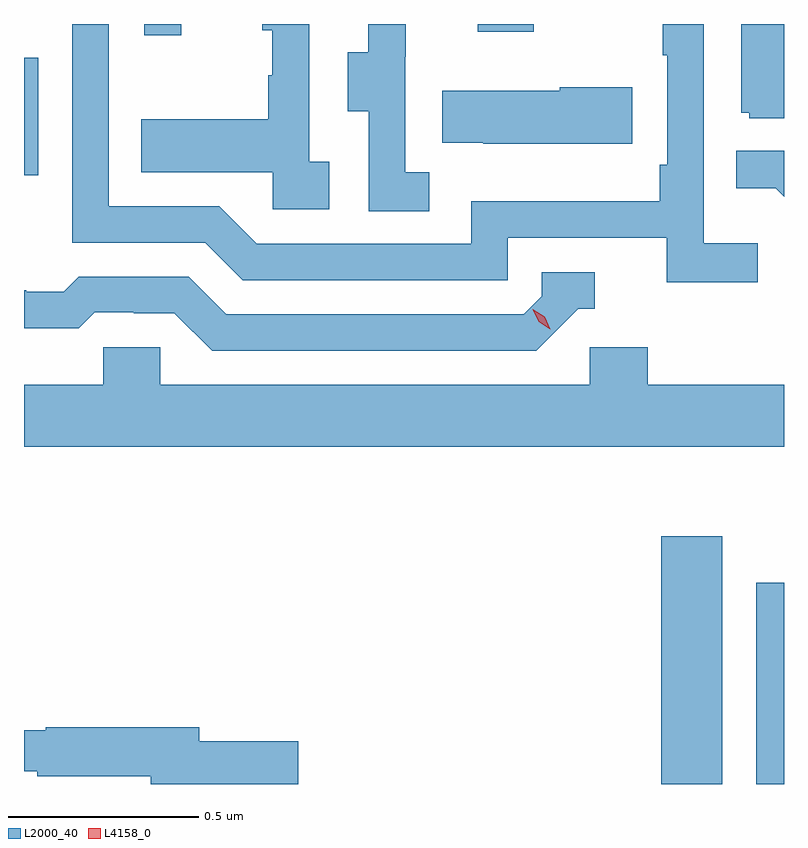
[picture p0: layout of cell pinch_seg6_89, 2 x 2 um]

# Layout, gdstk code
import gdstk
lib = gdstk.Library(unit=1e-6, precision=1e-09)
def R(c, l, rs):  # rectangles x0, y0, x1, y1
    for r in rs: c.add(gdstk.rectangle(r[:2], r[2:], *l))
def P(c, l, *ps):  # polygons
    for p in ps: c.add(gdstk.Polygon(p, *l))
L2000_40 = (2000, 40)
L4158_0 = (4158, 0)

pinch_seg6_89 = lib.new_cell('pinch_seg6_89')
R(pinch_seg6_89, L2000_40, [(946.13,931.797,946.291,932.449), (946.38,931.797,946.453,932.326), (944.453,933.399,944.49,933.708), (944.769,933.768,944.867,933.797), (945.647,933.777,945.795,933.797)])
P(pinch_seg6_89, L2000_40, [(945.52,933.407),(945.456,933.407),(945.456,933.711),(945.458,933.711),(945.458,933.797),(945.359,933.797),(945.359,933.723),(945.305,933.723),(945.305,933.568),(945.36,933.568),(945.36,933.304),(945.52,933.304)],
  [(945.256,933.434),(945.204,933.434),(945.204,933.797),(945.08,933.797),(945.08,933.78),(945.106,933.78),(945.106,933.662),(945.096,933.662),(945.096,933.547),(944.761,933.547),(944.761,933.407),(945.108,933.407),(945.108,933.309),(945.256,933.309)],
  [(946.384,933.22),(946.242,933.22),(946.242,933.797),(946.134,933.797),(946.134,933.715),(946.146,933.715),(946.146,933.427),(946.126,933.427),(946.126,933.331),(945.63,933.331),(945.63,933.219),(945.066,933.219),(944.967,933.318),(944.676,933.318),(944.676,933.797),(944.58,933.797),(944.58,933.222),(944.93,933.222),(945.029,933.123),(945.726,933.123),(945.726,933.234),(946.145,933.234),(946.145,933.118),(946.384,933.118)],
  [(946.453,933.797),(946.34,933.797),(946.34,933.564),(946.362,933.564),(946.362,933.549),(946.453,933.549)],
  [(946.054,933.63),(945.863,933.63),(945.863,933.622),(945.553,933.622),(945.553,933.485),(945.661,933.485),(945.661,933.482),(946.054,933.482)],
  [(946.453,933.464),(946.327,933.464),(946.327,933.365),(946.431,933.365),(946.453,933.343)],
  [(945.912,933.048),(945.955,933.048),(945.955,933.144),(945.816,933.144),(945.816,933.081),(945.768,933.033),(944.985,933.033),(944.886,933.132),(944.597,933.132),(944.558,933.093),(944.459,933.093),(944.459,933.096),(944.453,933.096),(944.453,932.997),(944.597,932.997),(944.639,933.039),(944.742,933.039),(944.742,933.036),(944.849,933.036),(944.948,932.937),(945.801,932.937)],
  [(946.453,932.848),(946.094,932.848),(946.094,932.946),(945.942,932.946),(945.942,932.848),(944.811,932.848),(944.811,932.946),(944.661,932.946),(944.661,932.848),(944.453,932.848),(944.453,932.684),(946.453,932.684)],
  [(945.175,931.91),(944.914,931.91),(944.914,931.946),(944.51,931.946),(944.51,931.939),(944.453,931.939),(944.453,931.83),(944.488,931.83),(944.488,931.818),(944.786,931.818),(944.786,931.797),(945.175,931.797)])
P(pinch_seg6_89, L4158_0, [(945.838,932.994),(945.808,933.014),(945.792,933.047),(945.792,933.047),(945.792,933.047),(945.823,933.027),(945.838,932.994),(945.838,932.994)])

lib.write_gds('pinch_seg6_89.gds')
